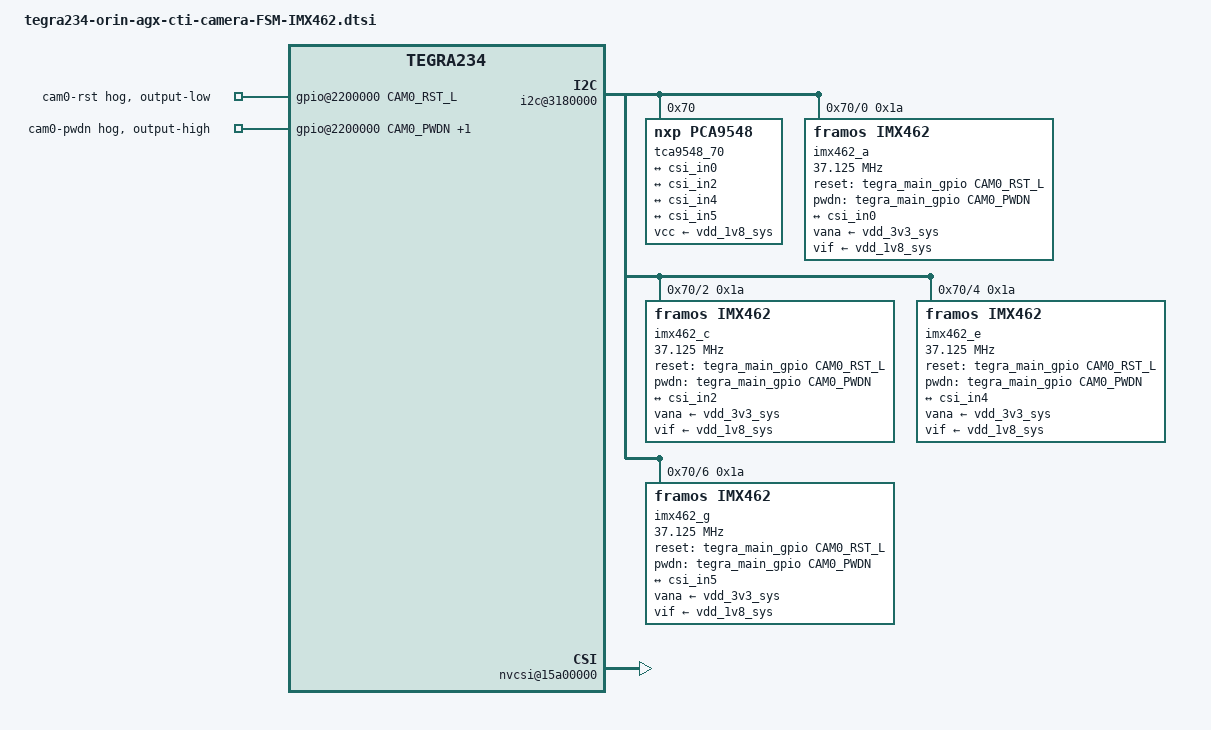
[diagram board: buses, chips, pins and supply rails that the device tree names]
/*
 * Copyright (c) 2022, Connect Tech Inc.  All rights reserved.
 *
 * This program is free software; you can redistribute it and/or modify it
 * under the terms and conditions of the GNU General Public License,
 * version 2, as published by the Free Software Foundation.
 *
 * This program is distributed in the hope it will be useful, but WITHOUT
 * ANY WARRANTY; without even the implied warranty of MERCHANTABILITY or
 * FITNESS FOR A PARTICULAR PURPOSE.  See the GNU General Public License for
 * more details.
 *
 * You should have received a copy of the GNU General Public License
 * along with this program.  If not, see <http://www.gnu.org/licenses/>.
 */

#include "dt-bindings/gpio/tegra234-gpio.h"
#include "dt-bindings/clock/tegra234-clock.h"

#include "tegra234-orin-agx-cti-csi.dtsi"


#define CAM0_RST_L  TEGRA234_MAIN_GPIO(I, 0)
#define CAM0_PWDN   TEGRA234_MAIN_GPIO(H, 7)
#define CRESETB     TEGRA234_MAIN_GPIO(AC, 0)


/ {
    framos_platform_adapter {
        cam,use-cam-gpio = "true";
    };

    gpio@2200000 {
        camera-control-output-low {
            gpio-hog;
            output-low;
            gpios = <CAM0_RST_L 0>;
            label = "cam0-rst";
            status = "okay";
        };
        camera-control-output-high {
            gpio-hog;
            output-high;
            gpios = <CAM0_PWDN 0 CRESETB 0>;
            label = "cam0-pwdn", "cresetb";
            status = "okay";
        };
    };


    //I2C_3  
    i2c@3180000{
        tca9548_70: tca9548@70 {
            compatible = "nxp,pca9548";
            reg = <0x70>;
            #address-cells = <1>;
            #size-cells = <0>;
            skip_mux_detect;
            vcc-supply = <&vdd_1v8_sys>;
            force_bus_start = <30>;

            i2c@0 {
                reg = <0>;
                i2c-mux,deselect-on-exit;
                #address-cells = <1>;
                #size-cells = <0>;
                
                imx462_a@1a {
                    compatible = "framos,imx462";
                    reg = <0x1a>;
                    status = "okay";
                    /* Define any required hw resources needed by driver */
                    /* ie. clocks, io pins, power sources */
                    clocks = <&bpmp_clks TEGRA234_CLK_EXTPERIPH1>,
                                <&bpmp_clks TEGRA234_CLK_EXTPERIPH1>;
                    clock-names = "extperiph1", "pllp_grtba";
                    mclk = "extperiph1";
                    clock-frequency = <37125000>;
                    reset-gpios = <&tegra_main_gpio CAM0_RST_L GPIO_ACTIVE_HIGH>;
                    pwdn-gpios = <&tegra_main_gpio CAM0_PWDN GPIO_ACTIVE_HIGH>;
                    vana-supply = <&vdd_3v3_sys>;
                    vif-supply = <&vdd_1v8_sys>;

                    devnode = "video0";

                    physical_w = "12.00";
                    physical_h = "9.30";

                    sensor_model ="imx462";

                    /* Define any required hw resources needed by driver */
                    /* ie. clocks, io pins, power sources */
                    //avdd-reg = "vana";
                    //dvdd-reg = "vdig";
                    iovdd-reg = "vif";

                    /* Defines number of frames to be dropped by driver internally after applying */
                    /* sensor crop settings. Some sensors send corrupt frames after applying */
                    /* crop co-ordinates */
                    post_crop_frame_drop = "0";

                    /* Convert Gain to unit of dB (decibel) befor passing to kernel driver */
                    use_decibel_gain = "true";

                    /* if true, delay gain setting by one frame to be in sync with exposure */
                    delayed_gain = "false";

                    /* enable CID_SENSOR_MODE_ID for sensor modes selection */
                    use_sensor_mode_id = "false";
                    mode0 { //
                        mclk_khz = "37125";
                        num_lanes = "4";
                        tegra_sinterface = "serial_a";
                        phy_mode = "DPHY";
                        discontinuous_clk = "no";
                        dpcm_enable = "false";
                        cil_settletime = "0";
                        active_w = "1920";
                        active_h = "1080";

                        dynamic_pixel_bit_depth = "10";
                        csi_pixel_bit_depth = "10";
                        mode_type = "bayer";
                        pixel_phase = "rggb";

                        readout_orientation = "0";
                        line_length = "1650";
                        inherent_gain = "1";
                        pix_clk_hz = "178200000";

                        gain_factor = "10";
                        min_gain_val = "0"; /* 0dB */
                        max_gain_val = "720"; /* 72dB */
                        step_gain_val = "3"; /* 0.3 */
                        default_gain = "0";
                        min_hdr_ratio = "1";
                        max_hdr_ratio = "64";
                        framerate_factor = "1000000";
                        min_framerate = "1500000"; /* 1.5 */
                        max_framerate = "60000000"; /* 60 */
                        step_framerate = "1";
                        default_framerate= "60000000";
                        exposure_factor = "1000000";
                        min_exp_time = "7"; /* us */
                        max_exp_time = "660000"; /* us */
                        step_exp_time = "1";
                        default_exp_time = "10000";/* us */
                        embedded_metadata_height = "1";
                    };

                    mode1 { //
                        mclk_khz = "37125";
                        num_lanes = "4";
                        tegra_sinterface = "serial_a";
                        phy_mode = "DPHY";
                        discontinuous_clk = "no";
                        dpcm_enable = "false";
                        cil_settletime = "0";
                        active_w = "1280";
                        active_h = "720";

                        dynamic_pixel_bit_depth = "10";
                        csi_pixel_bit_depth = "10";
                        mode_type = "bayer";
                        pixel_phase = "rggb";

                        readout_orientation = "0";
                        line_length = "1650";
                        inherent_gain = "1";
                        pix_clk_hz = "118800000";

                        gain_factor = "10";
                        min_gain_val = "0"; /* 0dB */
                        max_gain_val = "720"; /* 72dB */
                        step_gain_val = "3"; /* 0.3 */
                        default_gain = "0";
                        min_hdr_ratio = "1";
                        max_hdr_ratio = "64";
                        framerate_factor = "1000000";
                        min_framerate = "1500000"; /* 1.5 */
                        max_framerate = "60000000"; /* 60 */
                        step_framerate = "1";
                        default_framerate= "60000000";
                        exposure_factor = "1000000";
                        min_exp_time = "11"; /* us */
                        max_exp_time = "660000"; /* us */
                        step_exp_time = "1";
                        default_exp_time = "10000";/* us */
                        embedded_metadata_height = "1";
                    };

                    mode2 { //
                        mclk_khz = "37125";
                        num_lanes = "4";
                        tegra_sinterface = "serial_a";
                        phy_mode = "DPHY";
                        discontinuous_clk = "no";
                        dpcm_enable = "false";
                        cil_settletime = "0";
                        active_w = "640";
                        active_h = "480";

                        dynamic_pixel_bit_depth = "10";
                        csi_pixel_bit_depth = "10";
                        mode_type = "bayer";
                        pixel_phase = "rggb";

                        readout_orientation = "0";
                        line_length = "1650";
                        inherent_gain = "1";
                        pix_clk_hz = "178200000";

                        gain_factor = "10";
                        min_gain_val = "0"; /* 0dB */
                        max_gain_val = "720"; /* 72dB */
                        step_gain_val = "3"; /* 0.3 */
                        default_gain = "0";
                        min_hdr_ratio = "1";
                        max_hdr_ratio = "64";
                        framerate_factor = "1000000";
                        min_framerate = "1500000"; /* 1.5 */
                        max_framerate = "133000000"; /* 133 */
                        step_framerate = "1";
                        default_framerate= "120000000";
                        exposure_factor = "1000000";
                        min_exp_time = "7"; /* us */
                        max_exp_time = "660000"; /* us */
                        step_exp_time = "1";
                        default_exp_time = "10000";/* us */
                        embedded_metadata_height = "1";
                    };
                    mode3 { //
                        mclk_khz = "37125";
                        num_lanes = "4";
                        tegra_sinterface = "serial_a";
                        phy_mode = "DPHY";
                        discontinuous_clk = "no";
                        dpcm_enable = "false";
                        cil_settletime = "0";
                        active_w = "1920";
                        active_h = "1080";

                        dynamic_pixel_bit_depth = "12";
                        csi_pixel_bit_depth = "12";
                        mode_type = "bayer";
                        pixel_phase = "rggb";

                        readout_orientation = "0";
                        line_length = "6600";
                        inherent_gain = "1";
                        pix_clk_hz = "148500000";

                        gain_factor = "10";
                        min_gain_val = "0"; /* 0dB */
                        max_gain_val = "720"; /* 72dB */
                        step_gain_val = "3"; /* 0.3 */
                        default_gain = "0";
                        min_hdr_ratio = "1";
                        max_hdr_ratio = "64";
                        framerate_factor = "1000000";
                        min_framerate = "1500000"; /* 1.5 */
                        max_framerate = "60000000"; /* 60 */
                        step_framerate = "1";
                        default_framerate= "60000000";
                        exposure_factor = "1000000";
                        min_exp_time = "15"; /* us */
                        max_exp_time = "660000"; /* us */
                        step_exp_time = "1";
                        default_exp_time = "10000";/* us */
                        embedded_metadata_height = "1";
                    };
                    mode4 { //
                        mclk_khz = "37125";
                        num_lanes = "4";
                        tegra_sinterface = "serial_a";
                        phy_mode = "DPHY";
                        discontinuous_clk = "no";
                        dpcm_enable = "false";
                        cil_settletime = "0";
                        active_w = "1280";
                        active_h = "720";

                        dynamic_pixel_bit_depth = "12";
                        csi_pixel_bit_depth = "12";
                        mode_type = "bayer";
                        pixel_phase = "rggb";

                        readout_orientation = "0";
                        line_length = "6600";
                        inherent_gain = "1";
                        pix_clk_hz = "99000000";

                        gain_factor = "10";
                        min_gain_val = "0"; /* 0dB */
                        max_gain_val = "720"; /* 72dB */
                        step_gain_val = "3"; /* 0.3 */
                        default_gain = "0";
                        min_hdr_ratio = "1";
                        max_hdr_ratio = "64";
                        framerate_factor = "1000000";
                        min_framerate = "1500000"; /* 1.5 */
                        max_framerate = "60000000"; /* 60 */
                        step_framerate = "1";
                        default_framerate= "60000000";
                        exposure_factor = "1000000";
                        min_exp_time = "22"; /* us */
                        max_exp_time = "660000"; /* us */
                        step_exp_time = "1";
                        default_exp_time = "10000";/* us */
                        embedded_metadata_height = "1";
                    };
                    mode5 { //
                        mclk_khz = "37125";
                        num_lanes = "4";
                        tegra_sinterface = "serial_a";
                        phy_mode = "DPHY";
                        discontinuous_clk = "no";
                        dpcm_enable = "false";
                        cil_settletime = "0";
                        active_w = "640";
                        active_h = "480";

                        dynamic_pixel_bit_depth = "12";
                        csi_pixel_bit_depth = "12";
                        mode_type = "bayer";
                        pixel_phase = "rggb";

                        readout_orientation = "0";
                        line_length = "6600";
                        inherent_gain = "1";
                        pix_clk_hz = "148500000";

                        gain_factor = "10";
                        min_gain_val = "0"; /* 0dB */
                        max_gain_val = "720"; /* 72dB */
                        step_gain_val = "3"; /* 0.3 */
                        default_gain = "0";
                        min_hdr_ratio = "1";
                        max_hdr_ratio = "64";
                        framerate_factor = "1000000";
                        min_framerate = "1500000"; /* 1.5 */
                        max_framerate = "133000000"; /* 133 */
                        step_framerate = "1";
                        default_framerate= "120000000";
                        exposure_factor = "1000000";
                        min_exp_time = "15"; /* us */
                        max_exp_time = "660000"; /* us */
                        step_exp_time = "1";
                        default_exp_time = "10000";/* us */
                        embedded_metadata_height = "1";
                    };
                    ports {
                        #address-cells = <1>;
                        #size-cells = <0>;
                        port@0 {
                            reg = <0>;
                            cam_out0: endpoint {
                                port-index = <0>;
                                bus-width = <4>;
                                remote-endpoint = <&csi_in0>;
                            };
                        };
                    };
                };
            };

            i2c@2 {
                reg = <2>;
                i2c-mux,deselect-on-exit;
                #address-cells = <1>;
                #size-cells = <0>;
                
                imx462_c@1a {
                    compatible = "framos,imx462";
                    reg = <0x1a>;
                    status = "okay";
                    /* Define any required hw resources needed by driver */
                    /* ie. clocks, io pins, power sources */
                    clocks = <&bpmp_clks TEGRA234_CLK_EXTPERIPH1>,
                                <&bpmp_clks TEGRA234_CLK_EXTPERIPH1>;
                    clock-names = "extperiph1", "pllp_grtba";
                    mclk = "extperiph1";
                    clock-frequency = <37125000>;
                    reset-gpios = <&tegra_main_gpio CAM0_RST_L GPIO_ACTIVE_HIGH>;
                    pwdn-gpios = <&tegra_main_gpio CAM0_PWDN GPIO_ACTIVE_HIGH>;
                    vana-supply = <&vdd_3v3_sys>;
                    vif-supply = <&vdd_1v8_sys>;

                    devnode = "video1";

                    physical_w = "12.00";
                    physical_h = "9.30";

                    sensor_model ="imx462";

                    /* Define any required hw resources needed by driver */
                    /* ie. clocks, io pins, power sources */
                    //avdd-reg = "vana";
                    //dvdd-reg = "vdig";
                    iovdd-reg = "vif";

                    /* Defines number of frames to be dropped by driver internally after applying */
                    /* sensor crop settings. Some sensors send corrupt frames after applying */
                    /* crop co-ordinates */
                    post_crop_frame_drop = "0";

                    /* Convert Gain to unit of dB (decibel) befor passing to kernel driver */
                    use_decibel_gain = "true";

                    /* if true, delay gain setting by one frame to be in sync with exposure */
                    delayed_gain = "false";

                    /* enable CID_SENSOR_MODE_ID for sensor modes selection */
                    use_sensor_mode_id = "false";
                    mode0 { //
                        mclk_khz = "37125";
                        num_lanes = "4";
                        tegra_sinterface = "serial_c";
                        phy_mode = "DPHY";
                        discontinuous_clk = "no";
                        dpcm_enable = "false";
                        cil_settletime = "0";
                        active_w = "1920";
                        active_h = "1080";

                        dynamic_pixel_bit_depth = "10";
                        csi_pixel_bit_depth = "10";
                        mode_type = "bayer";
                        pixel_phase = "rggb";

                        readout_orientation = "0";
                        line_length = "1650";
                        inherent_gain = "1";
                        pix_clk_hz = "178200000";

                        gain_factor = "10";
                        min_gain_val = "0"; /* 0dB */
                        max_gain_val = "720"; /* 72dB */
                        step_gain_val = "3"; /* 0.3 */
                        default_gain = "0";
                        min_hdr_ratio = "1";
                        max_hdr_ratio = "64";
                        framerate_factor = "1000000";
                        min_framerate = "1500000"; /* 1.5 */
                        max_framerate = "60000000"; /* 60 */
                        step_framerate = "1";
                        default_framerate= "60000000";
                        exposure_factor = "1000000";
                        min_exp_time = "7"; /* us */
                        max_exp_time = "660000"; /* us */
                        step_exp_time = "1";
                        default_exp_time = "10000";/* us */
                        embedded_metadata_height = "1";
                    };

                    mode1 { //
                        mclk_khz = "37125";
                        num_lanes = "4";
                        tegra_sinterface = "serial_c";
                        phy_mode = "DPHY";
                        discontinuous_clk = "no";
                        dpcm_enable = "false";
                        cil_settletime = "0";
                        active_w = "1280";
                        active_h = "720";

                        dynamic_pixel_bit_depth = "10";
                        csi_pixel_bit_depth = "10";
                        mode_type = "bayer";
                        pixel_phase = "rggb";

                        readout_orientation = "0";
                        line_length = "1650";
                        inherent_gain = "1";
                        pix_clk_hz = "118800000";

                        gain_factor = "10";
                        min_gain_val = "0"; /* 0dB */
                        max_gain_val = "720"; /* 72dB */
                        step_gain_val = "3"; /* 0.3 */
                        default_gain = "0";
                        min_hdr_ratio = "1";
                        max_hdr_ratio = "64";
                        framerate_factor = "1000000";
                        min_framerate = "1500000"; /* 1.5 */
                        max_framerate = "60000000"; /* 60 */
                        step_framerate = "1";
                        default_framerate= "60000000";
                        exposure_factor = "1000000";
                        min_exp_time = "11"; /* us */
                        max_exp_time = "660000"; /* us */
                        step_exp_time = "1";
                        default_exp_time = "10000";/* us */
                        embedded_metadata_height = "1";
                    };

                    mode2 { //
                        mclk_khz = "37125";
                        num_lanes = "4";
                        tegra_sinterface = "serial_c";
                        phy_mode = "DPHY";
                        discontinuous_clk = "no";
                        dpcm_enable = "false";
                        cil_settletime = "0";
                        active_w = "640";
                        active_h = "480";

                        dynamic_pixel_bit_depth = "10";
                        csi_pixel_bit_depth = "10";
                        mode_type = "bayer";
                        pixel_phase = "rggb";

                        readout_orientation = "0";
                        line_length = "1650";
                        inherent_gain = "1";
                        pix_clk_hz = "178200000";

                        gain_factor = "10";
                        min_gain_val = "0"; /* 0dB */
                        max_gain_val = "720"; /* 72dB */
                        step_gain_val = "3"; /* 0.3 */
                        default_gain = "0";
                        min_hdr_ratio = "1";
                        max_hdr_ratio = "64";
                        framerate_factor = "1000000";
                        min_framerate = "1500000"; /* 1.5 */
                        max_framerate = "133000000"; /* 133 */
                        step_framerate = "1";
                        default_framerate= "120000000";
                        exposure_factor = "1000000";
                        min_exp_time = "7"; /* us */
                        max_exp_time = "660000"; /* us */
                        step_exp_time = "1";
                        default_exp_time = "10000";/* us */
                        embedded_metadata_height = "1";
                    };
                    mode3 { //
                        mclk_khz = "37125";
                        num_lanes = "4";
                        tegra_sinterface = "serial_c";
                        phy_mode = "DPHY";
                        discontinuous_clk = "no";
                        dpcm_enable = "false";
                        cil_settletime = "0";
                        active_w = "1920";
                        active_h = "1080";

                        dynamic_pixel_bit_depth = "12";
                        csi_pixel_bit_depth = "12";
                        mode_type = "bayer";
                        pixel_phase = "rggb";

                        readout_orientation = "0";
                        line_length = "6600";
                        inherent_gain = "1";
                        pix_clk_hz = "148500000";

                        gain_factor = "10";
                        min_gain_val = "0"; /* 0dB */
                        max_gain_val = "720"; /* 72dB */
                        step_gain_val = "3"; /* 0.3 */
                        default_gain = "0";
                        min_hdr_ratio = "1";
                        max_hdr_ratio = "64";
                        framerate_factor = "1000000";
                        min_framerate = "1500000"; /* 1.5 */
                        max_framerate = "60000000"; /* 60 */
                        step_framerate = "1";
                        default_framerate= "60000000";
                        exposure_factor = "1000000";
                        min_exp_time = "15"; /* us */
                        max_exp_time = "660000"; /* us */
                        step_exp_time = "1";
                        default_exp_time = "10000";/* us */
                        embedded_metadata_height = "1";
                    };
                    mode4 { //
                        mclk_khz = "37125";
                        num_lanes = "4";
                        tegra_sinterface = "serial_c";
                        phy_mode = "DPHY";
                        discontinuous_clk = "no";
                        dpcm_enable = "false";
                        cil_settletime = "0";
                        active_w = "1280";
                        active_h = "720";

                        dynamic_pixel_bit_depth = "12";
                        csi_pixel_bit_depth = "12";
                        mode_type = "bayer";
                        pixel_phase = "rggb";

                        readout_orientation = "0";
                        line_length = "6600";
                        inherent_gain = "1";
                        pix_clk_hz = "99000000";

                        gain_factor = "10";
                        min_gain_val = "0"; /* 0dB */
                        max_gain_val = "720"; /* 72dB */
                        step_gain_val = "3"; /* 0.3 */
                        default_gain = "0";
                        min_hdr_ratio = "1";
                        max_hdr_ratio = "64";
                        framerate_factor = "1000000";
                        min_framerate = "1500000"; /* 1.5 */
                        max_framerate = "60000000"; /* 60 */
                        step_framerate = "1";
                        default_framerate= "60000000";
                        exposure_factor = "1000000";
                        min_exp_time = "22"; /* us */
                        max_exp_time = "660000"; /* us */
                        step_exp_time = "1";
                        default_exp_time = "10000";/* us */
                        embedded_metadata_height = "1";
                    };
                    mode5 { //
                        mclk_khz = "37125";
                        num_lanes = "4";
                        tegra_sinterface = "serial_c";
                        phy_mode = "DPHY";
                        discontinuous_clk = "no";
                        dpcm_enable = "false";
                        cil_settletime = "0";
                        active_w = "640";
                        active_h = "480";

                        dynamic_pixel_bit_depth = "12";
                        csi_pixel_bit_depth = "12";
                        mode_type = "bayer";
                        pixel_phase = "rggb";

                        readout_orientation = "0";
                        line_length = "6600";
                        inherent_gain = "1";
                        pix_clk_hz = "148500000";

                        gain_factor = "10";
                        min_gain_val = "0"; /* 0dB */
                        max_gain_val = "720"; /* 72dB */
                        step_gain_val = "3"; /* 0.3 */
                        default_gain = "0";
                        min_hdr_ratio = "1";
                        max_hdr_ratio = "64";
                        framerate_factor = "1000000";
                        min_framerate = "1500000"; /* 1.5 */
                        max_framerate = "133000000"; /* 133 */
                        step_framerate = "1";
                        default_framerate= "120000000";
                        exposure_factor = "1000000";
                        min_exp_time = "15"; /* us */
                        max_exp_time = "660000"; /* us */
                        step_exp_time = "1";
                        default_exp_time = "10000";/* us */
                        embedded_metadata_height = "1";
                    };
                    ports {
                        #address-cells = <1>;
                        #size-cells = <0>;
                        port@0 {
                            reg = <0>;
                            cam_out2: endpoint {
                                port-index = <2>;
                                bus-width = <4>;
                                remote-endpoint = <&csi_in2>;
                            };
                        };
                    };
                };
            };

            i2c@4 {
                reg = <4>;
                i2c-mux,deselect-on-exit;
                #address-cells = <1>;
                #size-cells = <0>;
                
                imx462_e@1a {
                    compatible = "framos,imx462";
                    reg = <0x1a>;
                    status = "okay";
                    /* Define any required hw resources needed by driver */
                    /* ie. clocks, io pins, power sources */
                    clocks = <&bpmp_clks TEGRA234_CLK_EXTPERIPH1>,
                                <&bpmp_clks TEGRA234_CLK_EXTPERIPH1>;
                    clock-names = "extperiph1", "pllp_grtba";
                    mclk = "extperiph1";
                    clock-frequency = <37125000>;
                    reset-gpios = <&tegra_main_gpio CAM0_RST_L GPIO_ACTIVE_HIGH>;
                    pwdn-gpios = <&tegra_main_gpio CAM0_PWDN GPIO_ACTIVE_HIGH>;
                    vana-supply = <&vdd_3v3_sys>;
                    vif-supply = <&vdd_1v8_sys>;

                    devnode = "video2";

                    physical_w = "12.00";
                    physical_h = "9.30";

                    sensor_model ="imx462";

                    /* Define any required hw resources needed by driver */
                    /* ie. clocks, io pins, power sources */
                    //avdd-reg = "vana";
                    //dvdd-reg = "vdig";
                    iovdd-reg = "vif";

                    /* Defines number of frames to be dropped by driver internally after applying */
                    /* sensor crop settings. Some sensors send corrupt frames after applying */
                    /* crop co-ordinates */
                    post_crop_frame_drop = "0";

                    /* Convert Gain to unit of dB (decibel) befor passing to kernel driver */
                    use_decibel_gain = "true";

                    /* if true, delay gain setting by one frame to be in sync with exposure */
                    delayed_gain = "false";

                    /* enable CID_SENSOR_MODE_ID for sensor modes selection */
                    use_sensor_mode_id = "false";
                    mode0 { //
                        mclk_khz = "37125";
                        num_lanes = "4";
                        tegra_sinterface = "serial_e";
                        phy_mode = "DPHY";
                        discontinuous_clk = "no";
                        dpcm_enable = "false";
                        cil_settletime = "0";
                        active_w = "1920";
                        active_h = "1080";

                        dynamic_pixel_bit_depth = "10";
                        csi_pixel_bit_depth = "10";
                        mode_type = "bayer";
                        pixel_phase = "rggb";

                        readout_orientation = "0";
                        line_length = "1650";
                        inherent_gain = "1";
                        pix_clk_hz = "178200000";

                        gain_factor = "10";
                        min_gain_val = "0"; /* 0dB */
                        max_gain_val = "720"; /* 72dB */
                        step_gain_val = "3"; /* 0.3 */
                        default_gain = "0";
                        min_hdr_ratio = "1";
                        max_hdr_ratio = "64";
                        framerate_factor = "1000000";
                        min_framerate = "1500000"; /* 1.5 */
                        max_framerate = "60000000"; /* 60 */
                        step_framerate = "1";
                        default_framerate= "60000000";
                        exposure_factor = "1000000";
                        min_exp_time = "7"; /* us */
                        max_exp_time = "660000"; /* us */
                        step_exp_time = "1";
                        default_exp_time = "10000";/* us */
                        embedded_metadata_height = "1";
                    };

                    mode1 { //
                        mclk_khz = "37125";
                        num_lanes = "4";
                        tegra_sinterface = "serial_e";
                        phy_mode = "DPHY";
                        discontinuous_clk = "no";
                        dpcm_enable = "false";
                        cil_settletime = "0";
                        active_w = "1280";
                        active_h = "720";

                        dynamic_pixel_bit_depth = "10";
                        csi_pixel_bit_depth = "10";
                        mode_type = "bayer";
                        pixel_phase = "rggb";

                        readout_orientation = "0";
                        line_length = "1650";
                        inherent_gain = "1";
                        pix_clk_hz = "118800000";

                        gain_factor = "10";
                        min_gain_val = "0"; /* 0dB */
                        max_gain_val = "720"; /* 72dB */
                        step_gain_val = "3"; /* 0.3 */
                        default_gain = "0";
                        min_hdr_ratio = "1";
                        max_hdr_ratio = "64";
                        framerate_factor = "1000000";
                        min_framerate = "1500000"; /* 1.5 */
                        max_framerate = "60000000"; /* 60 */
                        step_framerate = "1";
                        default_framerate= "60000000";
                        exposure_factor = "1000000";
                        min_exp_time = "11"; /* us */
                        max_exp_time = "660000"; /* us */
                        step_exp_time = "1";
                        default_exp_time = "10000";/* us */
                        embedded_metadata_height = "1";
                    };

                    mode2 { //
                        mclk_khz = "37125";
                        num_lanes = "4";
                        tegra_sinterface = "serial_e";
                        phy_mode = "DPHY";
                        discontinuous_clk = "no";
                        dpcm_enable = "false";
                        cil_settletime = "0";
                        active_w = "640";
                        active_h = "480";

                        dynamic_pixel_bit_depth = "10";
                        csi_pixel_bit_depth = "10";
                        mode_type = "bayer";
                        pixel_phase = "rggb";

                        readout_orientation = "0";
                        line_length = "1650";
                        inherent_gain = "1";
                        pix_clk_hz = "178200000";

                        gain_factor = "10";
                        min_gain_val = "0"; /* 0dB */
                        max_gain_val = "720"; /* 72dB */
                        step_gain_val = "3"; /* 0.3 */
                        default_gain = "0";
                        min_hdr_ratio = "1";
                        max_hdr_ratio = "64";
                        framerate_factor = "1000000";
                        min_framerate = "1500000"; /* 1.5 */
                        max_framerate = "133000000"; /* 133 */
                        step_framerate = "1";
                        default_framerate= "120000000";
                        exposure_factor = "1000000";
                        min_exp_time = "7"; /* us */
                        max_exp_time = "660000"; /* us */
                        step_exp_time = "1";
                        default_exp_time = "10000";/* us */
                        embedded_metadata_height = "1";
                    };
                    mode3 { //
                        mclk_khz = "37125";
                        num_lanes = "4";
                        tegra_sinterface = "serial_e";
                        phy_mode = "DPHY";
                        discontinuous_clk = "no";
                        dpcm_enable = "false";
                        cil_settletime = "0";
                        active_w = "1920";
                        active_h = "1080";

                        dynamic_pixel_bit_depth = "12";
                        csi_pixel_bit_depth = "12";
                        mode_type = "bayer";
                        pixel_phase = "rggb";

                        readout_orientation = "0";
                        line_length = "6600";
                        inherent_gain = "1";
                        pix_clk_hz = "148500000";

                        gain_factor = "10";
                        min_gain_val = "0"; /* 0dB */
                        max_gain_val = "720"; /* 72dB */
                        step_gain_val = "3"; /* 0.3 */
                        default_gain = "0";
                        min_hdr_ratio = "1";
                        max_hdr_ratio = "64";
                        framerate_factor = "1000000";
                        min_framerate = "1500000"; /* 1.5 */
                        max_framerate = "60000000"; /* 60 */
                        step_framerate = "1";
                        default_framerate= "60000000";
                        exposure_factor = "1000000";
                        min_exp_time = "15"; /* us */
                        max_exp_time = "660000"; /* us */
                        step_exp_time = "1";
                        default_exp_time = "10000";/* us */
                        embedded_metadata_height = "1";
                    };
                    mode4 { //
                        mclk_khz = "37125";
                        num_lanes = "4";
                        tegra_sinterface = "serial_e";
                        phy_mode = "DPHY";
                        discontinuous_clk = "no";
                        dpcm_enable = "false";
                        cil_settletime = "0";
                        active_w = "1280";
                        active_h = "720";

                        dynamic_pixel_bit_depth = "12";
                        csi_pixel_bit_depth = "12";
                        mode_type = "bayer";
                        pixel_phase = "rggb";

                        readout_orientation = "0";
                        line_length = "6600";
                        inherent_gain = "1";
                        pix_clk_hz = "99000000";

                        gain_factor = "10";
                        min_gain_val = "0"; /* 0dB */
                        max_gain_val = "720"; /* 72dB */
                        step_gain_val = "3"; /* 0.3 */
                        default_gain = "0";
                        min_hdr_ratio = "1";
                        max_hdr_ratio = "64";
                        framerate_factor = "1000000";
                        min_framerate = "1500000"; /* 1.5 */
                        max_framerate = "60000000"; /* 60 */
                        step_framerate = "1";
                        default_framerate= "60000000";
                        exposure_factor = "1000000";
                        min_exp_time = "22"; /* us */
                        max_exp_time = "660000"; /* us */
                        step_exp_time = "1";
                        default_exp_time = "10000";/* us */
                        embedded_metadata_height = "1";
                    };
                    mode5 { //
                        mclk_khz = "37125";
                        num_lanes = "4";
                        tegra_sinterface = "serial_e";
                        phy_mode = "DPHY";
                        discontinuous_clk = "no";
                        dpcm_enable = "false";
                        cil_settletime = "0";
                        active_w = "640";
                        active_h = "480";

                        dynamic_pixel_bit_depth = "12";
                        csi_pixel_bit_depth = "12";
                        mode_type = "bayer";
                        pixel_phase = "rggb";

                        readout_orientation = "0";
                        line_length = "6600";
                        inherent_gain = "1";
                        pix_clk_hz = "148500000";

                        gain_factor = "10";
                        min_gain_val = "0"; /* 0dB */
                        max_gain_val = "720"; /* 72dB */
                        step_gain_val = "3"; /* 0.3 */
                        default_gain = "0";
                        min_hdr_ratio = "1";
                        max_hdr_ratio = "64";
                        framerate_factor = "1000000";
                        min_framerate = "1500000"; /* 1.5 */
                        max_framerate = "133000000"; /* 133 */
                        step_framerate = "1";
                        default_framerate= "120000000";
                        exposure_factor = "1000000";
                        min_exp_time = "15"; /* us */
                        max_exp_time = "660000"; /* us */
                        step_exp_time = "1";
                        default_exp_time = "10000";/* us */
                        embedded_metadata_height = "1";
                    };
                    ports {
                        #address-cells = <1>;
                        #size-cells = <0>;
                        port@0 {
                            reg = <0>;
                            cam_out4: endpoint {
                                port-index = <4>;
                                bus-width = <4>;
                                remote-endpoint = <&csi_in4>;
                            };
                        };
                    };
                };
            };

            i2c@6 {
                reg = <6>;
                i2c-mux,deselect-on-exit;
                #address-cells = <1>;
                #size-cells = <0>;
                
                imx462_g@1a {
                    compatible = "framos,imx462";
                    reg = <0x1a>;
                    status = "okay";
                    /* Define any required hw resources needed by driver */
                    /* ie. clocks, io pins, power sources */
                    clocks = <&bpmp_clks TEGRA234_CLK_EXTPERIPH1>,
                                <&bpmp_clks TEGRA234_CLK_EXTPERIPH1>;
                    clock-names = "extperiph1", "pllp_grtba";
                    mclk = "extperiph1";
                    clock-frequency = <37125000>;
                    reset-gpios = <&tegra_main_gpio CAM0_RST_L GPIO_ACTIVE_HIGH>;
                    pwdn-gpios = <&tegra_main_gpio CAM0_PWDN GPIO_ACTIVE_HIGH>;
                    vana-supply = <&vdd_3v3_sys>;
                    vif-supply = <&vdd_1v8_sys>;

                    devnode = "video3";

                    physical_w = "12.00";
                    physical_h = "9.30";

                    sensor_model ="imx462";

                    /* Define any required hw resources needed by driver */
                    /* ie. clocks, io pins, power sources */
                    //avdd-reg = "vana";
                    //dvdd-reg = "vdig";
                    iovdd-reg = "vif";

                    /* Defines number of frames to be dropped by driver internally after applying */
                    /* sensor crop settings. Some sensors send corrupt frames after applying */
                    /* crop co-ordinates */
                    post_crop_frame_drop = "0";

                    /* Convert Gain to unit of dB (decibel) befor passing to kernel driver */
                    use_decibel_gain = "true";

                    /* if true, delay gain setting by one frame to be in sync with exposure */
                    delayed_gain = "false";

                    /* enable CID_SENSOR_MODE_ID for sensor modes selection */
                    use_sensor_mode_id = "false";
                    mode0 { //
                        mclk_khz = "37125";
                        num_lanes = "4";
                        tegra_sinterface = "serial_g";
                        phy_mode = "DPHY";
                        discontinuous_clk = "no";
                        dpcm_enable = "false";
                        cil_settletime = "0";
                        active_w = "1920";
                        active_h = "1080";

                        dynamic_pixel_bit_depth = "10";
                        csi_pixel_bit_depth = "10";
                        mode_type = "bayer";
                        pixel_phase = "rggb";

                        readout_orientation = "0";
                        line_length = "1650";
                        inherent_gain = "1";
                        pix_clk_hz = "178200000";

                        gain_factor = "10";
                        min_gain_val = "0"; /* 0dB */
                        max_gain_val = "720"; /* 72dB */
                        step_gain_val = "3"; /* 0.3 */
                        default_gain = "0";
                        min_hdr_ratio = "1";
                        max_hdr_ratio = "64";
                        framerate_factor = "1000000";
                        min_framerate = "1500000"; /* 1.5 */
                        max_framerate = "60000000"; /* 60 */
                        step_framerate = "1";
                        default_framerate= "60000000";
                        exposure_factor = "1000000";
                        min_exp_time = "7"; /* us */
                        max_exp_time = "660000"; /* us */
                        step_exp_time = "1";
                        default_exp_time = "10000";/* us */
                        embedded_metadata_height = "1";
                    };

                    mode1 { //
                        mclk_khz = "37125";
                        num_lanes = "4";
                        tegra_sinterface = "serial_g";
                        phy_mode = "DPHY";
                        discontinuous_clk = "no";
                        dpcm_enable = "false";
                        cil_settletime = "0";
                        active_w = "1280";
                        active_h = "720";

                        dynamic_pixel_bit_depth = "10";
                        csi_pixel_bit_depth = "10";
                        mode_type = "bayer";
                        pixel_phase = "rggb";

                        readout_orientation = "0";
                        line_length = "1650";
                        inherent_gain = "1";
                        pix_clk_hz = "118800000";

                        gain_factor = "10";
                        min_gain_val = "0"; /* 0dB */
                        max_gain_val = "720"; /* 72dB */
                        step_gain_val = "3"; /* 0.3 */
                        default_gain = "0";
                        min_hdr_ratio = "1";
                        max_hdr_ratio = "64";
                        framerate_factor = "1000000";
                        min_framerate = "1500000"; /* 1.5 */
                        max_framerate = "60000000"; /* 60 */
                        step_framerate = "1";
                        default_framerate= "60000000";
                        exposure_factor = "1000000";
                        min_exp_time = "11"; /* us */
                        max_exp_time = "660000"; /* us */
                        step_exp_time = "1";
                        default_exp_time = "10000";/* us */
                        embedded_metadata_height = "1";
                    };

                    mode2 { //
                        mclk_khz = "37125";
                        num_lanes = "4";
                        tegra_sinterface = "serial_g";
                        phy_mode = "DPHY";
                        discontinuous_clk = "no";
                        dpcm_enable = "false";
                        cil_settletime = "0";
                        active_w = "640";
                        active_h = "480";

                        dynamic_pixel_bit_depth = "10";
                        csi_pixel_bit_depth = "10";
                        mode_type = "bayer";
                        pixel_phase = "rggb";

                        readout_orientation = "0";
                        line_length = "1650";
                        inherent_gain = "1";
                        pix_clk_hz = "178200000";

                        gain_factor = "10";
                        min_gain_val = "0"; /* 0dB */
                        max_gain_val = "720"; /* 72dB */
                        step_gain_val = "3"; /* 0.3 */
                        default_gain = "0";
                        min_hdr_ratio = "1";
                        max_hdr_ratio = "64";
                        framerate_factor = "1000000";
                        min_framerate = "1500000"; /* 1.5 */
                        max_framerate = "133000000"; /* 133 */
                        step_framerate = "1";
                        default_framerate= "120000000";
                        exposure_factor = "1000000";
                        min_exp_time = "7"; /* us */
                        max_exp_time = "660000"; /* us */
                        step_exp_time = "1";
                        default_exp_time = "10000";/* us */
                        embedded_metadata_height = "1";
                    };
                    mode3 { //
                        mclk_khz = "37125";
                        num_lanes = "4";
                        tegra_sinterface = "serial_g";
                        phy_mode = "DPHY";
                        discontinuous_clk = "no";
                        dpcm_enable = "false";
                        cil_settletime = "0";
                        active_w = "1920";
                        active_h = "1080";

                        dynamic_pixel_bit_depth = "12";
                        csi_pixel_bit_depth = "12";
                        mode_type = "bayer";
                        pixel_phase = "rggb";

                        readout_orientation = "0";
                        line_length = "6600";
                        inherent_gain = "1";
                        pix_clk_hz = "148500000";

                        gain_factor = "10";
                        min_gain_val = "0"; /* 0dB */
                        max_gain_val = "720"; /* 72dB */
                        step_gain_val = "3"; /* 0.3 */
                        default_gain = "0";
                        min_hdr_ratio = "1";
                        max_hdr_ratio = "64";
                        framerate_factor = "1000000";
                        min_framerate = "1500000"; /* 1.5 */
                        max_framerate = "60000000"; /* 60 */
                        step_framerate = "1";
                        default_framerate= "60000000";
                        exposure_factor = "1000000";
                        min_exp_time = "15"; /* us */
                        max_exp_time = "660000"; /* us */
                        step_exp_time = "1";
                        default_exp_time = "10000";/* us */
                        embedded_metadata_height = "1";
                    };
                    mode4 { //
                        mclk_khz = "37125";
                        num_lanes = "4";
                        tegra_sinterface = "serial_g";
                        phy_mode = "DPHY";
                        discontinuous_clk = "no";
                        dpcm_enable = "false";
                        cil_settletime = "0";
                        active_w = "1280";
                        active_h = "720";

                        dynamic_pixel_bit_depth = "12";
                        csi_pixel_bit_depth = "12";
                        mode_type = "bayer";
                        pixel_phase = "rggb";

                        readout_orientation = "0";
                        line_length = "6600";
                        inherent_gain = "1";
                        pix_clk_hz = "99000000";

                        gain_factor = "10";
                        min_gain_val = "0"; /* 0dB */
                        max_gain_val = "720"; /* 72dB */
                        step_gain_val = "3"; /* 0.3 */
                        default_gain = "0";
                        min_hdr_ratio = "1";
                        max_hdr_ratio = "64";
                        framerate_factor = "1000000";
                        min_framerate = "1500000"; /* 1.5 */
                        max_framerate = "60000000"; /* 60 */
                        step_framerate = "1";
                        default_framerate= "60000000";
                        exposure_factor = "1000000";
                        min_exp_time = "22"; /* us */
                        max_exp_time = "660000"; /* us */
                        step_exp_time = "1";
                        default_exp_time = "10000";/* us */
                        embedded_metadata_height = "1";
                    };
                    mode5 { //
                        mclk_khz = "37125";
                        num_lanes = "4";
                        tegra_sinterface = "serial_g";
                        phy_mode = "DPHY";
                        discontinuous_clk = "no";
                        dpcm_enable = "false";
                        cil_settletime = "0";
                        active_w = "640";
                        active_h = "480";

                        dynamic_pixel_bit_depth = "12";
                        csi_pixel_bit_depth = "12";
                        mode_type = "bayer";
                        pixel_phase = "rggb";

                        readout_orientation = "0";
                        line_length = "6600";
                        inherent_gain = "1";
                        pix_clk_hz = "148500000";

                        gain_factor = "10";
                        min_gain_val = "0"; /* 0dB */
                        max_gain_val = "720"; /* 72dB */
                        step_gain_val = "3"; /* 0.3 */
                        default_gain = "0";
                        min_hdr_ratio = "1";
                        max_hdr_ratio = "64";
                        framerate_factor = "1000000";
                        min_framerate = "1500000"; /* 1.5 */
                        max_framerate = "133000000"; /* 133 */
                        step_framerate = "1";
                        default_framerate= "120000000";
                        exposure_factor = "1000000";
                        min_exp_time = "15"; /* us */
                        max_exp_time = "660000"; /* us */
                        step_exp_time = "1";
                        default_exp_time = "10000";/* us */
                        embedded_metadata_height = "1";
                    };
                    ports {
                        #address-cells = <1>;
                        #size-cells = <0>;
                        port@0 {
                            reg = <0>;
                            cam_out5: endpoint {
                                port-index = <6>;
                                bus-width = <4>;
                                remote-endpoint = <&csi_in5>;
                            };
                        };
                    };
                };
            };
        };
    };

    tegra-capture-vi {
        status = "okay";
        ports {
            port@0 {
                status = "okay";
                endpoint {
                    status = "okay";
                    port-index = <0>;
                    bus-width = <4>;
                };
            };
            port@2 {
                status = "okay";
                endpoint {
                    port-index = <2>;
                    status = "okay";
                    bus-width = <4>;
                };
            };
            port@4 {
                status = "okay";
                endpoint {
                    port-index = <4>;
                    status = "okay";
                    bus-width = <4>;
                };
            };
            port@5 {
                status = "okay";
                endpoint {
                    port-index = <5>;
                    status = "okay";
                    bus-width = <4>;
                };
            };
        };
    };

    host1x@13e00000 {
        nvcsi@15a00000 {
            status = "okay";
            channel@0 {
                status = "okay";
                ports {
                    port@0 {
                        status = "okay";
                        endpoint@0 {
                            status = "okay";
                            bus-width = <4>;
                            port-index = <0>;
                            remote-endpoint = <&cam_out0>;
                        };
                    };
                    port@1 {
                        status = "okay";
                        endpoint@1 {
                            status = "okay";
                        };
                    };
                };
            };
            channel@2 {
                status = "okay";
                ports {
                    port@0 {
                        status = "okay";
                        endpoint@4 {
                            status = "okay";
                            bus-width = <4>;
                            port-index = <2>;
                            remote-endpoint = <&cam_out2>;
                        };
                    };
                    port@1 {
                        status = "okay";
                        endpoint@5 {
                            status = "okay";
                        };
                    };
                };
            };
            channel@4 {
                status = "okay";
                ports {
                    port@0 {
                        status = "okay";
                        endpoint@8 {
                            status = "okay";
                            bus-width = <4>;
                            port-index = <4>;
                            remote-endpoint = <&cam_out4>;
                        };
                    };
                    port@1 {
                        status = "okay";
                        endpoint@9 {
                            status = "okay";
                        };
                    };
                };
            };

            channel@5 {
                status = "okay";
                ports {
                    port@0 {
                        status = "okay";
                        endpoint@10 {
                            status = "okay";
                            bus-width = <4>;
                            port-index = <6>;
                            remote-endpoint = <&cam_out5>;
                        };
                    };
                    port@1 {
                        status = "okay";
                        endpoint@11 {
                            status = "okay";
                        };
                    };
                };
            };
        };
    };


    tegra-camera-platform {
        num_csi_lanes = <16>;
        max_lane_speed = <1500000>;
        min_bits_per_pixel = <10>;
        vi_peak_byte_per_pixel = <2>;
        vi_bw_margin_pct = <25>;
        isp_peak_byte_per_pixel = <5>;
        isp_bw_margin_pct = <25>;

        modules {
            module0 {
                status = "okay";
                 drivernode0 {
                    status = "okay";
                    devname = "imx462 30-001a";
                    proc-device-tree = "/proc/device-tree/i2c@3180000/tca9548@70/i2c@0/imx462_a@1a";
                };
            };
            module2 {
                status = "okay";
                drivernode0 {
                    status = "okay";
                    devname = "imx462 32-001a";
                    proc-device-tree = "/proc/device-tree/i2c@3180000/tca9548@70/i2c@2/imx462_c@1a";
                };
            };
            module4 {
                status = "okay";
                drivernode0 {
                    status = "okay";
                    devname = "imx462 34-001a";
                    proc-device-tree = "/proc/device-tree/i2c@3180000/tca9548@70/i2c@4/imx462_e@1a";
                };
            };
            module5 {
                status = "okay";
                drivernode0 {
                    status = "okay";
                    devname = "imx462 36-001a";
                    proc-device-tree = "/proc/device-tree/i2c@3180000/tca9548@70/i2c@6/imx462_g@1a";
                };
            };
        };
    };
};
